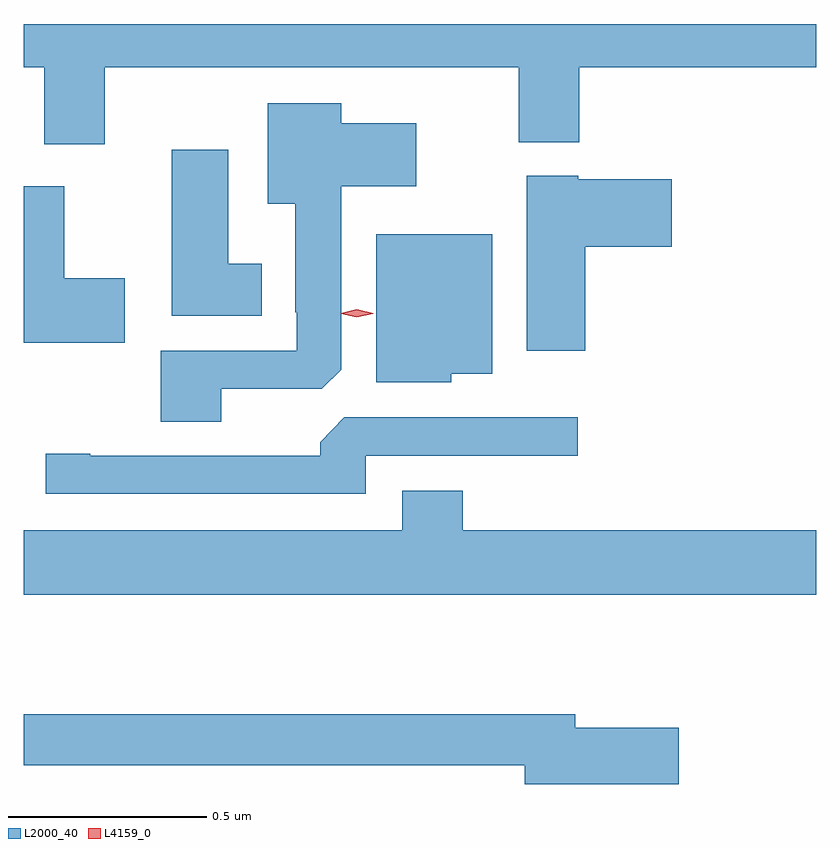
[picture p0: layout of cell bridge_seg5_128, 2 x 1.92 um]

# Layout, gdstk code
import gdstk
lib = gdstk.Library(unit=1e-6, precision=1e-09)
def P(c, l, *ps):  # polygons
    for p in ps: c.add(gdstk.Polygon(p, *l))
L2000_40 = (2000, 40)
L4159_0 = (4159, 0)

bridge_seg5_128 = lib.new_cell('bridge_seg5_128')
P(bridge_seg5_128, L2000_40, [(426.244,882.068),(427.289,882.068),(427.289,881.879),(427.442,881.879),(427.442,882.068),(428.04,882.068),(428.04,882.177),(426.04,882.177),(426.04,882.068),(426.092,882.068),(426.092,881.874),(426.244,881.874)],
  [(426.538,881.256),(426.792,881.256),(426.841,881.305),(426.841,881.768),(427.03,881.768),(427.03,881.926),(426.841,881.926),(426.841,881.977),(426.656,881.977),(426.656,881.723),(426.725,881.723),(426.725,881.449),(426.729,881.449),(426.729,881.352),(426.386,881.352),(426.386,881.173),(426.538,881.173)],
  [(426.64,881.572),(426.556,881.572),(426.556,881.86),(426.413,881.86),(426.413,881.441),(426.64,881.441)],
  [(427.457,881.615),(427.675,881.615),(427.675,881.785),(427.44,881.785),(427.44,881.794),(427.31,881.794),(427.31,881.352),(427.457,881.352)],
  [(426.295,881.535),(426.142,881.535),(426.142,881.767),(426.04,881.767),(426.04,881.372),(426.295,881.372)],
  [(427.119,881.294),(427.222,881.294),(427.222,881.647),(426.929,881.647),(426.929,881.273),(427.119,881.273)],
  [(426.903,881.088),(427.438,881.088),(427.438,881.184),(426.849,881.184),(426.788,881.122),(426.788,881.088),(426.208,881.088),(426.208,881.093),(426.096,881.093),(426.096,880.992),(426.903,880.992)],
  [(428.04,880.9),(427.148,880.9),(427.148,880.999),(426.995,880.999),(426.995,880.9),(426.04,880.9),(426.04,880.736),(428.04,880.736)],
  [(427.693,880.401),(427.432,880.401),(427.432,880.435),(426.04,880.435),(426.04,880.306),(427.304,880.306),(427.304,880.259),(427.693,880.259)])
P(bridge_seg5_128, L4159_0, [(426.881,881.437),(426.84,881.446),(426.84,881.447),(426.84,881.447),(426.881,881.457),(426.922,881.447),(426.922,881.447),(426.922,881.446)])

lib.write_gds('bridge_seg5_128.gds')
